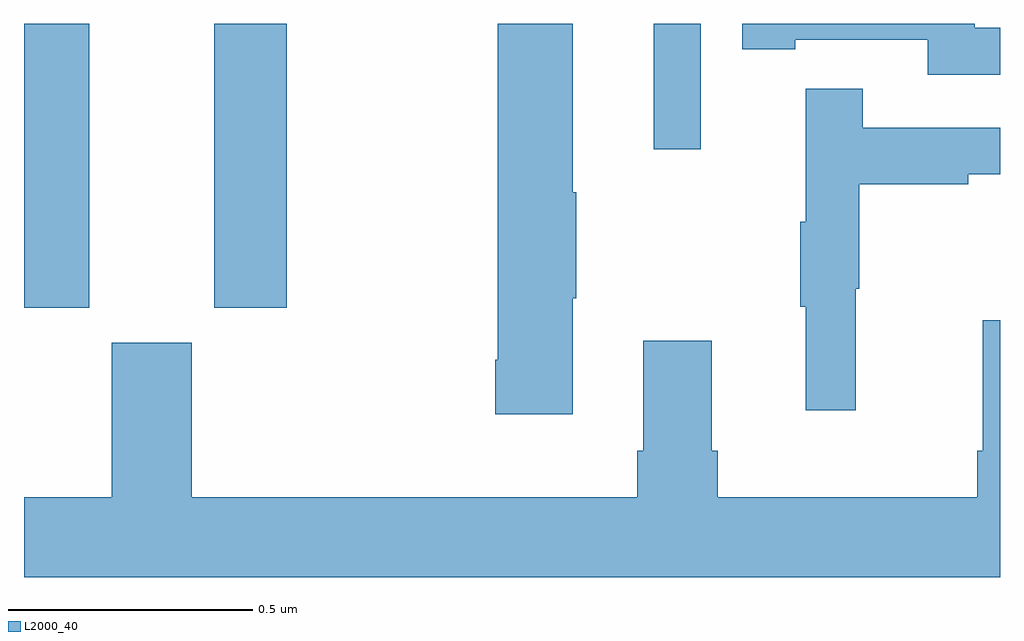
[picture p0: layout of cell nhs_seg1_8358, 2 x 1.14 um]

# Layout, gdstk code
import gdstk
lib = gdstk.Library(unit=1e-6, precision=1e-09)
def R(c, l, rs):  # rectangles x0, y0, x1, y1
    for r in rs: c.add(gdstk.rectangle(r[:2], r[2:], *l))
def P(c, l, *ps):  # polygons
    for p in ps: c.add(gdstk.Polygon(p, *l))
L2000_40 = (2000, 40)

nhs_seg1_8358 = lib.new_cell('nhs_seg1_8358')
R(nhs_seg1_8358, L2000_40, [(215,553.617,215.134,554.199), (215.39,553.617,215.538,554.199), (216.29,553.941,216.387,554.199)])
P(nhs_seg1_8358, L2000_40, [(216.124,553.636),(216.132,553.636),(216.132,553.853),(216.124,553.853),(216.124,554.199),(215.971,554.199),(215.971,553.51),(215.966,553.51),(215.966,553.398),(216.124,553.398)],
  [(217,554.19),(216.948,554.19),(216.948,554.199),(216.472,554.199),(216.472,554.146),(216.58,554.146),(216.58,554.166),(216.852,554.166),(216.852,554.094),(217,554.094)],
  [(216.704,553.656),(216.712,553.656),(216.712,553.87),(216.935,553.87),(216.935,553.89),(217,553.89),(217,553.986),(216.719,553.986),(216.719,554.065),(216.602,554.065),(216.602,553.793),(216.591,553.793),(216.591,553.619),(216.602,553.619),(216.602,553.407),(216.704,553.407)],
  [(217,553.591),(216.965,553.591),(216.965,553.324),(216.953,553.324),(216.953,553.228),(216.422,553.228),(216.422,553.324),(216.409,553.324),(216.409,553.549),(216.269,553.549),(216.269,553.324),(216.257,553.324),(216.257,553.228),(215.344,553.228),(215.344,553.545),(215.18,553.545),(215.18,553.228),(215,553.228),(215,553.064),(217,553.064)])

lib.write_gds('nhs_seg1_8358.gds')
